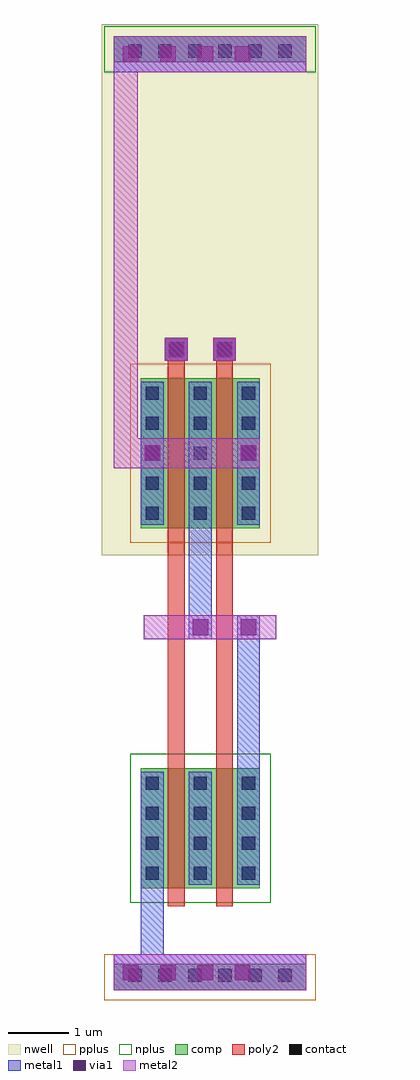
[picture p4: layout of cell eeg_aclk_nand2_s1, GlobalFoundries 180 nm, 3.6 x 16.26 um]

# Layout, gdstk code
import gdstk
lib = gdstk.Library(unit=1e-6, precision=1e-09)
def R(c, l, rs):  # rectangles x0, y0, x1, y1
    for r in rs: c.add(gdstk.rectangle(r[:2], r[2:], *l))
def A(c, l, x, y, w, h, nx, ny, dx, dy):  # array of equal rectangles
    R(c, l, [(x+i*dx, y+j*dy, x+i*dx+w, y+j*dy+h) for i in range(nx) for j in range(ny)])
nwell = (21, 0)
comp = (22, 0)
poly2 = (30, 0)
pplus = (31, 0)
nplus = (32, 0)
contact = (33, 0)
metal1 = (34, 0)
via1 = (35, 0)
metal2 = (36, 0)

eeg_aclk_nand2_s1 = lib.new_cell('eeg_aclk_nand2_s1')
R(eeg_aclk_nand2_s1, nwell, [(-0.2,7.25,3.4,16.1)])
R(eeg_aclk_nand2_s1, comp, [(0,0,3.2,0.44), (0.45,1.7,2.43,3.7), (0.45,7.7,2.43,10.2), (0,15.46,3.2,15.9)])
R(eeg_aclk_nand2_s1, poly2, [(0.9,1.4,1.18,7.7), (1.7,1.4,1.98,7.7), (0.9,7.4,1.18,10.86), (1.7,7.4,1.98,10.86), (0.86,10.5,1.22,10.86), (1.66,10.5,2.02,10.86)])
R(eeg_aclk_nand2_s1, pplus, [(-0.16,-0.16,3.36,0.6), (0.27,7.46,2.61,10.44)])
R(eeg_aclk_nand2_s1, nplus, [(0.27,1.46,2.61,3.94), (-0.16,15.3,3.36,16.06)])
A(eeg_aclk_nand2_s1, contact, 0.24, 0.14, 0.22, 0.22, 6, 2, 0.5, 15.4)
A(eeg_aclk_nand2_s1, contact, 0.53, 1.84, 0.22, 0.22, 3, 4, 0.8, 0.5)
A(eeg_aclk_nand2_s1, contact, 0.53, 7.84, 0.22, 0.22, 3, 5, 0.8, 0.5)
R(eeg_aclk_nand2_s1, contact, [(0.93,10.57,1.15,10.79), (1.73,10.57,1.95,10.79)])
R(eeg_aclk_nand2_s1, metal1, [(0,0,3.2,0.6), (0,0,3.2,0.44), (0.45,0.3,0.83,3.64), (1.25,1.76,1.63,3.64), (2.05,1.76,2.43,6.25), (1.25,5.85,1.63,10.14), (0.45,7.76,0.83,10.14), (2.05,7.76,2.43,10.14), (0.85,10.49,1.23,10.87), (1.65,10.49,2.03,10.87), (0,15.3,3.2,15.9), (0,15.46,3.2,15.9)])
A(eeg_aclk_nand2_s1, via1, 0.15, 0.17, 0.26, 0.26, 4, 2, 0.62, 15.3)
R(eeg_aclk_nand2_s1, via1, [(1.31,5.92,1.57,6.18), (2.11,5.92,2.37,6.18), (0.51,8.82,0.77,9.08), (2.11,8.82,2.37,9.08), (0.91,10.55,1.17,10.81), (1.71,10.55,1.97,10.81)])
R(eeg_aclk_nand2_s1, metal2, [(0,0,3.2,0.6), (0.5,5.85,2.7,6.25), (0,8.7,2.43,9.2), (0,8.7,0.4,15.3), (0.85,10.49,1.23,10.87), (1.65,10.49,2.03,10.87), (0,15.3,3.2,15.9)])

lib.write_gds('eeg_aclk_nand2_s1.gds')
